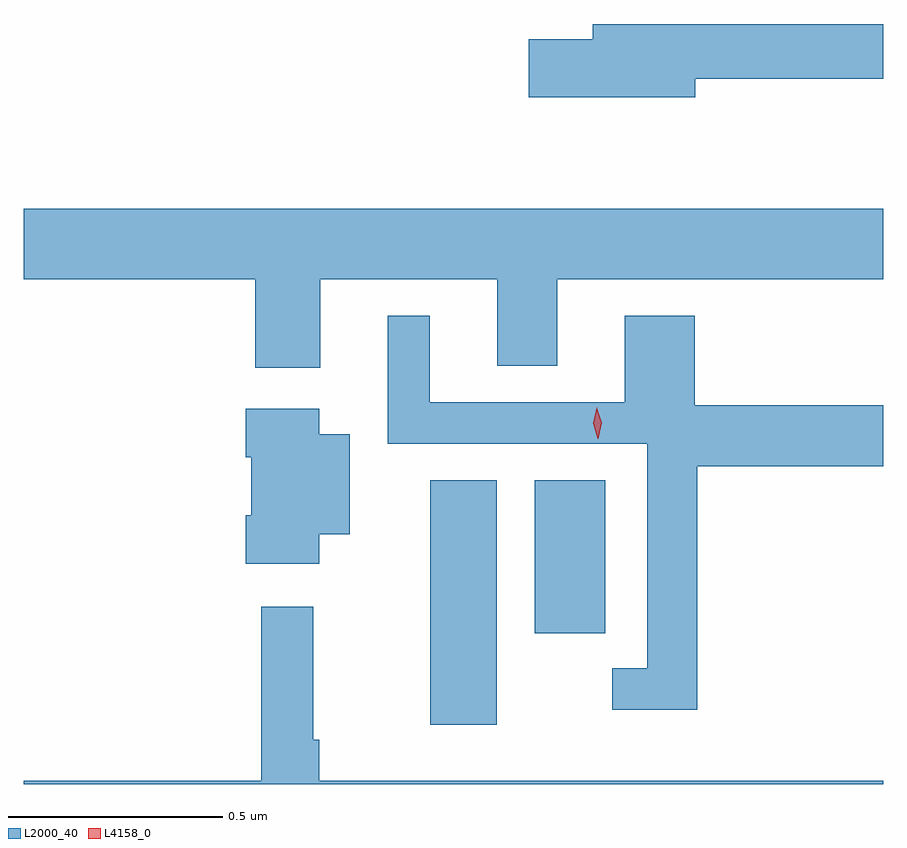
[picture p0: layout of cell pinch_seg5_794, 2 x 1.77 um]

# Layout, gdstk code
import gdstk
lib = gdstk.Library(unit=1e-6, precision=1e-09)
def R(c, l, rs):  # rectangles x0, y0, x1, y1
    for r in rs: c.add(gdstk.rectangle(r[:2], r[2:], *l))
def P(c, l, *ps):  # polygons
    for p in ps: c.add(gdstk.Polygon(p, *l))
L2000_40 = (2000, 40)
L4158_0 = (4158, 0)

pinch_seg5_794 = lib.new_cell('pinch_seg5_794')
R(pinch_seg5_794, L2000_40, [(796.031,911.667,796.186,912.236), (796.274,911.88,796.438,912.236)])
P(pinch_seg5_794, L2000_40, [(796.648,913.17),(797.085,913.17),(797.085,913.298),(796.409,913.298),(796.409,913.262),(796.26,913.262),(796.26,913.127),(796.648,913.127)],
  [(795.775,912.704),(796.187,912.704),(796.187,912.502),(796.327,912.502),(796.327,912.704),(797.085,912.704),(797.085,912.868),(795.085,912.868),(795.085,912.704),(795.623,912.704),(795.623,912.498),(795.775,912.498)],
  [(796.652,912.269),(797.085,912.269),(797.085,912.411),(796.646,912.411),(796.646,912.619),(796.484,912.619),(796.484,912.417),(796.03,912.417),(796.03,912.619),(795.932,912.619),(795.932,912.321),(796.536,912.321),(796.536,911.799),(796.455,911.799),(796.455,911.702),(796.652,911.702)],
  [(795.772,912.11),(795.844,912.11),(795.844,912.343),(795.772,912.343),(795.772,912.403),(795.602,912.403),(795.602,912.29),(795.614,912.29),(795.614,912.154),(795.602,912.154),(795.602,912.042),(795.772,912.042)],
  [(797.085,911.536),(795.773,911.536),(795.773,911.632),(795.758,911.632),(795.758,911.941),(795.637,911.941),(795.637,911.536),(795.085,911.536),(795.085,911.529),(797.085,911.529)])
P(pinch_seg5_794, L4158_0, [(796.421,912.333),(796.421,912.333),(796.41,912.369),(796.418,912.405),(796.418,912.406),(796.418,912.405),(796.43,912.37),(796.422,912.333)])

lib.write_gds('pinch_seg5_794.gds')
